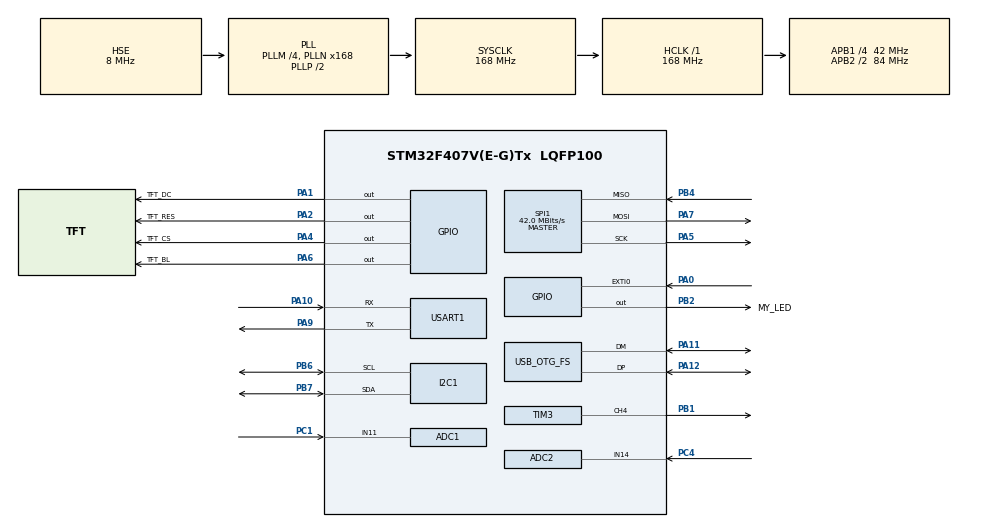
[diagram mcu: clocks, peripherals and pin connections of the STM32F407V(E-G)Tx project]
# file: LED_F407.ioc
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ADC1.Channel-3\#ChannelRegularConversion=ADC_CHANNEL_11
ADC1.ClockPrescaler=ADC_CLOCK_SYNC_PCLK_DIV4
ADC1.ContinuousConvMode=ENABLE
ADC1.DMAContinuousRequests=ENABLE
ADC1.NbrOfConversion=1
ADC1.NbrOfConversionFlag=1
ADC1.Rank-3\#ChannelRegularConversion=1
ADC1.SamplingTime-3\#ChannelRegularConversion=ADC_SAMPLETIME_480CYCLES
ADC1.ScanConvMode=DISABLE
ADC1.master=1
ADC2.Channel-1\#ChannelRegularConversion=ADC_CHANNEL_14
ADC2.ContinuousConvMode=ENABLE
ADC2.DMAContinuousRequests=ENABLE
ADC2.NbrOfConversion=1
ADC2.NbrOfConversionFlag=1
ADC2.Rank-1\#ChannelRegularConversion=1
ADC2.SamplingTime-1\#ChannelRegularConversion=ADC_SAMPLETIME_144CYCLES
Dma.ADC1.0.Direction=DMA_PERIPH_TO_MEMORY
Dma.ADC1.0.FIFOMode=DMA_FIFOMODE_DISABLE
Dma.ADC1.0.Instance=DMA2_Stream0
Dma.ADC1.0.MemDataAlignment=DMA_MDATAALIGN_HALFWORD
Dma.ADC1.0.MemInc=DMA_MINC_ENABLE
Dma.ADC1.0.Mode=DMA_CIRCULAR
Dma.ADC1.0.PeriphDataAlignment=DMA_PDATAALIGN_HALFWORD
Dma.ADC1.0.PeriphInc=DMA_PINC_DISABLE
Dma.ADC1.0.Priority=DMA_PRIORITY_VERY_HIGH
Dma.ADC2.4.Direction=DMA_PERIPH_TO_MEMORY
Dma.ADC2.4.FIFOMode=DMA_FIFOMODE_DISABLE
Dma.ADC2.4.Instance=DMA2_Stream2
Dma.ADC2.4.MemDataAlignment=DMA_MDATAALIGN_HALFWORD
Dma.ADC2.4.MemInc=DMA_MINC_ENABLE
Dma.ADC2.4.Mode=DMA_CIRCULAR
Dma.ADC2.4.PeriphDataAlignment=DMA_PDATAALIGN_HALFWORD
Dma.ADC2.4.PeriphInc=DMA_PINC_DISABLE
Dma.ADC2.4.Priority=DMA_PRIORITY_VERY_HIGH
Dma.Request0=ADC1
Dma.Request1=USART1_RX
Dma.Request2=USART1_TX
Dma.Request3=SPI1_TX
Dma.Request4=ADC2
Dma.SPI1_TX.3.Direction=DMA_MEMORY_TO_PERIPH
Dma.SPI1_TX.3.FIFOMode=DMA_FIFOMODE_DISABLE
Dma.SPI1_TX.3.Instance=DMA2_Stream3
Dma.SPI1_TX.3.MemDataAlignment=DMA_MDATAALIGN_BYTE
Dma.SPI1_TX.3.MemInc=DMA_MINC_ENABLE
Dma.SPI1_TX.3.Mode=DMA_NORMAL
Dma.SPI1_TX.3.PeriphDataAlignment=DMA_PDATAALIGN_BYTE
Dma.SPI1_TX.3.PeriphInc=DMA_PINC_DISABLE
Dma.SPI1_TX.3.Priority=DMA_PRIORITY_HIGH
Dma.USART1_RX.1.Direction=DMA_PERIPH_TO_MEMORY
Dma.USART1_RX.1.FIFOMode=DMA_FIFOMODE_DISABLE
Dma.USART1_RX.1.Instance=DMA2_Stream5
Dma.USART1_RX.1.MemDataAlignment=DMA_MDATAALIGN_BYTE
Dma.USART1_RX.1.MemInc=DMA_MINC_ENABLE
Dma.USART1_RX.1.Mode=DMA_NORMAL
Dma.USART1_RX.1.PeriphDataAlignment=DMA_PDATAALIGN_BYTE
Dma.USART1_RX.1.PeriphInc=DMA_PINC_DISABLE
Dma.USART1_RX.1.Priority=DMA_PRIORITY_HIGH
Dma.USART1_TX.2.Direction=DMA_MEMORY_TO_PERIPH
Dma.USART1_TX.2.FIFOMode=DMA_FIFOMODE_DISABLE
Dma.USART1_TX.2.Instance=DMA2_Stream7
Dma.USART1_TX.2.MemDataAlignment=DMA_MDATAALIGN_BYTE
Dma.USART1_TX.2.MemInc=DMA_MINC_ENABLE
Dma.USART1_TX.2.Mode=DMA_NORMAL
Dma.USART1_TX.2.PeriphDataAlignment=DMA_PDATAALIGN_BYTE
Dma.USART1_TX.2.PeriphInc=DMA_PINC_DISABLE
Dma.USART1_TX.2.Priority=DMA_PRIORITY_HIGH
FREERTOS.Tasks01=defaultTask,24,128,StartDefaultTask,Default,NULL,Dynamic,NULL,NULL
I2C1.OwnAddress=0x40
I2C1.Timing=0x10907DBA
Mcu.Family=STM32F4
Mcu.Name=STM32F407V(E-G)Tx
Mcu.Package=LQFP100
NVIC.ADC_IRQn=true\:5\:0\:false\:false\:true\:true\:true\:true\:true
NVIC.DMA2_Stream0_IRQn=true\:5\:0\:false\:false\:true\:true\:false\:true\:true
NVIC.DMA2_Stream2_IRQn=true\:5\:0\:false\:false\:true\:true\:false\:true\:true
NVIC.DMA2_Stream3_IRQn=true\:5\:0\:false\:false\:true\:true\:false\:true\:true
NVIC.DMA2_Stream5_IRQn=true\:5\:0\:false\:false\:true\:true\:false\:true\:true
NVIC.DMA2_Stream7_IRQn=true\:5\:0\:false\:false\:true\:true\:false\:true\:true
NVIC.EXTI0_IRQn=true\:5\:0\:false\:false\:true\:true\:true\:true\:true
NVIC.I2C1_ER_IRQn=true\:5\:0\:false\:false\:true\:true\:true\:true\:true
NVIC.I2C1_EV_IRQn=true\:5\:0\:false\:false\:true\:true\:true\:true\:true
NVIC.OTG_FS_IRQn=true\:5\:0\:false\:false\:true\:true\:false\:true\:true
NVIC.PriorityGroup=NVIC_PRIORITYGROUP_4
NVIC.SPI1_IRQn=true\:5\:0\:false\:false\:true\:true\:true\:true\:true
NVIC.TIM4_IRQn=true\:5\:0\:false\:false\:true\:true\:true\:true\:true
NVIC.TIM5_IRQn=true\:5\:0\:false\:false\:true\:true\:true\:true\:true
NVIC.TIM6_DAC_IRQn=true\:15\:0\:false\:false\:true\:false\:true\:true\:true
NVIC.TIM8_UP_TIM13_IRQn=true\:5\:0\:false\:false\:true\:true\:true\:true\:true
NVIC.TimeBase=TIM6_DAC_IRQn
NVIC.TimeBaseIP=TIM6
NVIC.USART1_IRQn=true\:5\:0\:false\:false\:true\:true\:true\:true\:true
PA0-WKUP.GPIO_ModeDefaultEXTI=GPIO_MODE_IT_RISING
PA0-WKUP.Signal=GPXTI0
PA1.GPIO_Label=TFT_DC
PA1.Signal=GPIO_Output
PA10.GPIO_Speed=GPIO_SPEED_FREQ_VERY_HIGH
PA10.Mode=Asynchronous
PA10.Signal=USART1_RX
PA11.Mode=Device_Only
PA11.Signal=USB_OTG_FS_DM
PA12.Mode=Device_Only
PA12.Signal=USB_OTG_FS_DP
PA13.Mode=Serial_Wire
PA13.Signal=SYS_JTMS-SWDIO
PA14.Mode=Serial_Wire
PA14.Signal=SYS_JTCK-SWCLK
PA2.GPIO_Label=TFT_RES
PA2.Signal=GPIO_Output
PA4.GPIO_Label=TFT_CS
PA4.Signal=GPIO_Output
PA5.Mode=Full_Duplex_Master
PA5.Signal=SPI1_SCK
PA6.GPIO_Label=TFT_BL
PA6.Signal=GPIO_Output
PA7.Mode=Full_Duplex_Master
PA7.Signal=SPI1_MOSI
PA9.Mode=Asynchronous
PA9.Signal=USART1_TX
PB1.GPIO_Speed=GPIO_SPEED_FREQ_VERY_HIGH
PB1.Signal=S_TIM3_CH4
PB2.GPIO_Label=MY_LED
PB2.GPIO_Speed=GPIO_SPEED_FREQ_HIGH
PB2.PinState=GPIO_PIN_SET
PB2.Signal=GPIO_Output
PB4.Mode=Full_Duplex_Master
PB4.Signal=SPI1_MISO
PB6.Mode=I2C
PB6.Signal=I2C1_SCL
PB7.Mode=I2C
PB7.Signal=I2C1_SDA
PC1.Signal=ADCx_IN11
PC4.Signal=ADCx_IN14
PH0-OSC_IN.Mode=HSE-External-Oscillator
PH0-OSC_IN.Signal=RCC_OSC_IN
PH1-OSC_OUT.Mode=HSE-External-Oscillator
PH1-OSC_OUT.Signal=RCC_OSC_OUT
ProjectManager.HeapSize=0x200
ProjectManager.StackSize=0x400
ProjectManager.TargetToolchain=CMake
RCC.48MHZClocksFreq_Value=48000000
RCC.AHBFreq_Value=168000000
RCC.APB1CLKDivider=RCC_HCLK_DIV4
RCC.APB1Freq_Value=42000000
RCC.APB1TimFreq_Value=84000000
RCC.APB2CLKDivider=RCC_HCLK_DIV2
RCC.APB2Freq_Value=84000000
RCC.APB2TimFreq_Value=168000000
RCC.CortexFreq_Value=168000000
RCC.HCLKFreq_Value=168000000
RCC.HSE_VALUE=8000000
RCC.HSI_VALUE=16000000
RCC.LSE_VALUE=32768
RCC.PLLM=4
RCC.PLLN=168
RCC.PLLQ=7
RCC.SYSCLKFreq_VALUE=168000000
RCC.SYSCLKSource=RCC_SYSCLKSOURCE_PLLCLK
RCC.VCOOutputFreq_Value=336000000
SH.ADCx_IN11.0=ADC1_IN11,IN11
SH.ADCx_IN14.0=ADC2_IN14,IN14
SH.S_TIM3_CH4.0=TIM3_CH4,PWM Generation4 CH4
SPI1.BaudRatePrescaler=SPI_BAUDRATEPRESCALER_2
SPI1.CLKPolarity=SPI_POLARITY_HIGH
SPI1.CalculateBaudRate=42.0 MBits/s
SPI1.Direction=SPI_DIRECTION_2LINES
SPI1.Mode=SPI_MODE_MASTER
SPI1.VirtualType=VM_MASTER
TIM3.Channel-PWM\ Generation4\ CH4=TIM_CHANNEL_4
TIM3.Period=1000-1
TIM3.Prescaler=84-1
TIM3.Pulse-PWM\ Generation4\ CH4=0
TIM4.Period=25000-1
TIM4.Prescaler=84-1
TIM5.Period=500-1
TIM5.Prescaler=84-1
TIM8.Period=10000-1
TIM8.Prescaler=84-1
USART1.VirtualMode=VM_ASYNC
USB_DEVICE.CLASS_NAME_FS=CDC
USB_DEVICE.VirtualMode-CDC_FS=Cdc
USB_DEVICE.VirtualModeFS=Cdc_FS
USB_OTG_FS.VirtualMode=Device_Only
VP_FREERTOS_VS_CMSIS_V2.Mode=CMSIS_V2
VP_SYS_VS_tim6.Mode=TIM6
VP_TIM4_VS_ClockSourceINT.Mode=Internal
VP_TIM5_VS_ClockSourceINT.Mode=Internal
VP_TIM5_VS_OPM.Mode=OPM_bit
VP_TIM8_VS_ClockSourceINT.Mode=Internal
VP_USB_DEVICE_VS_USB_DEVICE_CDC_FS.Mode=CDC_FS
board=custom

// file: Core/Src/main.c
/* USER CODE BEGIN Header */
/**
  ******************************************************************************
  * @file           : main.c
  * @brief          : Main program body
  ******************************************************************************
  * @attention
  *
  * Copyright (c) 2026 STMicroelectronics.
  * All rights reserved.
  *
  * This software is licensed under terms that can be found in the LICENSE file
  * in the root directory of this software component.
  * If no LICENSE file comes with this software, it is provided AS-IS.
  *
  ******************************************************************************
  */
/* USER CODE END Header */
#include "main.h"
#include "cmsis_os.h"
#include "adc.h"
#include "dma.h"
#include "i2c.h"
#include "spi.h"
#include "tim.h"
#include "usart.h"
#include "usb_device.h"
#include "gpio.h"

/* USER CODE BEGIN Includes */
#include "lvgl.h"
#include "app_tasks/app_init.h"
#include "app_tasks/app_echo_task.h"
#include "control/pwm_control.h"
#include "sensor/thermocouple_sampler.h"
#include "control/uart_cmd.h"

/* USER CODE END Includes */

void SystemClock_Config(void);
void MX_FREERTOS_Init(void);

int main(void)
{

  /* MCU Configuration--------------------------------------------------------*/

  /* Reset of all peripherals, Initializes the Flash interface and the Systick. */
  HAL_Init();

  /* Configure the system clock */
  SystemClock_Config();

  /* USER CODE BEGIN SysInit */
  CoreDebug->DEMCR |= CoreDebug_DEMCR_TRCENA_Msk;
  DWT->CYCCNT = 0;
  DWT->CTRL |= DWT_CTRL_CYCCNTENA_Msk;
  /* USER CODE END SysInit */

  /* Initialize all configured peripherals */
  MX_GPIO_Init();
  MX_DMA_Init();
  MX_USART1_UART_Init();
  MX_ADC1_Init();
  MX_I2C1_Init();
  MX_SPI1_Init();
  MX_TIM8_Init();
  MX_TIM3_Init();
  MX_TIM4_Init();
  MX_TIM5_Init();
  MX_ADC2_Init();
  /* USER CODE BEGIN 2 */
  App_Init();
  /* USER CODE END 2 */

  /* Init scheduler */
  osKernelInitialize();  /* Call init function for freertos objects (in cmsis_os2.c) */
  MX_FREERTOS_Init();

  /* Start scheduler */
  osKernelStart();

  /* We should never get here as control is now taken by the scheduler */

  /* Infinite loop */
  while (1)
  {

    /* USER CODE BEGIN 3 */
    /* 调度器启动后不会到达这里，应用逻辑在 App_MainLoop() 中 */
  }
  /* USER CODE END 3 */
}

void SystemClock_Config(void)
{
  RCC_OscInitTypeDef RCC_OscInitStruct = {0};
  RCC_ClkInitTypeDef RCC_ClkInitStruct = {0};

  /** Configure the main internal regulator output voltage
  */
  __HAL_RCC_PWR_CLK_ENABLE();
  __HAL_PWR_VOLTAGESCALING_CONFIG(PWR_REGULATOR_VOLTAGE_SCALE1);

  /** Initializes the RCC Oscillators according to the specified parameters
  * in the RCC_OscInitTypeDef structure.
  */
  RCC_OscInitStruct.OscillatorType = RCC_OSCILLATORTYPE_HSE;
  RCC_OscInitStruct.HSEState = RCC_HSE_ON;
  RCC_OscInitStruct.PLL.PLLState = RCC_PLL_ON;
  RCC_OscInitStruct.PLL.PLLSource = RCC_PLLSOURCE_HSE;
  RCC_OscInitStruct.PLL.PLLM = 4;
  RCC_OscInitStruct.PLL.PLLN = 168;
  RCC_OscInitStruct.PLL.PLLP = RCC_PLLP_DIV2;
  RCC_OscInitStruct.PLL.PLLQ = 7;
  if (HAL_RCC_OscConfig(&RCC_OscInitStruct) != HAL_OK)
  {
    Error_Handler();
  }

  /** Initializes the CPU, AHB and APB buses clocks
  */
  RCC_ClkInitStruct.ClockType = RCC_CLOCKTYPE_HCLK|RCC_CLOCKTYPE_SYSCLK
                              |RCC_CLOCKTYPE_PCLK1|RCC_CLOCKTYPE_PCLK2;
  RCC_ClkInitStruct.SYSCLKSource = RCC_SYSCLKSOURCE_PLLCLK;
  RCC_ClkInitStruct.AHBCLKDivider = RCC_SYSCLK_DIV1;
  RCC_ClkInitStruct.APB1CLKDivider = RCC_HCLK_DIV4;
  RCC_ClkInitStruct.APB2CLKDivider = RCC_HCLK_DIV2;

  if (HAL_RCC_ClockConfig(&RCC_ClkInitStruct, FLASH_LATENCY_5) != HAL_OK)
  {
    Error_Handler();
  }
}

/* USER CODE BEGIN 4 */

void HAL_UART_TxCpltCallback(UART_HandleTypeDef *huart)
{
  UartCmd_OnTxComplete(huart);
}

void HAL_GPIO_EXTI_Callback(uint16_t GPIO_Pin)
{
  if (GPIO_Pin == GPIO_PIN_0) {
    App_EchoTask_OnButtonPressed();
  }
}

void HAL_ADC_ConvCpltCallback(ADC_HandleTypeDef *hadc)
{
  if (hadc->Instance == ADC2) {
    ThermocoupleSampler_OnAdcDmaComplete();
  }
}

/* USER CODE END 4 */

void HAL_TIM_PeriodElapsedCallback(TIM_HandleTypeDef *htim)
{
  /* USER CODE BEGIN Callback 0 */
  if (htim->Instance == TIM6) {
    lv_tick_inc(1);   /* LVGL 时基：1ms 步进，放 USER CODE 区防止 CubeMX 覆盖 */
  }
  /* USER CODE END Callback 0 */
  if (htim->Instance == TIM6)
  {
    HAL_IncTick();
  }
  /* USER CODE BEGIN Callback 1 */

  if (htim->Instance == TIM8)
  {
    PwmControl_OnTim8Elapsed();
  }
  else if (htim->Instance == TIM4)
  {
    ThermocoupleSampler_OnSamplingTimerElapsed();
  }
  else if (htim->Instance == TIM5)
  {
    ThermocoupleSampler_OnSettleTimerElapsed();
  }
  /* USER CODE END Callback 1 */
}

void Error_Handler(void)
{
  __disable_irq();
  while (1)
  {
  }
}

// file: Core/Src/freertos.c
/* USER CODE BEGIN Header */
/**
  ******************************************************************************
  * File Name          : freertos.c
  * Description        : Code for freertos applications
  ******************************************************************************
  * @attention
  *
  * Copyright (c) 2026 STMicroelectronics.
  * All rights reserved.
  *
  * This software is licensed under terms that can be found in the LICENSE file
  * in the root directory of this software component.
  * If no LICENSE file comes with this software, it is provided AS-IS.
  *
  ******************************************************************************
  */
/* USER CODE END Header */

#include "FreeRTOS.h"
#include "task.h"
#include "main.h"
#include "cmsis_os.h"

/* USER CODE BEGIN Includes */
#include "app_tasks/app_echo_task.h"
#include "app_tasks/app_sensor_task.h"
#include "app_tasks/app_lvgl_task.h"

/* USER CODE END Includes */

/* USER CODE BEGIN Variables */
/* Definitions for EchoTask */
osThreadId_t echoTaskHandle;
const osThreadAttr_t echoTask_attributes = {
  .name = "Echo",
  .stack_size = 256 * 4,
  .priority = (osPriority_t) osPriorityNormal,
};

/* Definitions for SensorTask */
osThreadId_t sensorTaskHandle;
const osThreadAttr_t sensorTask_attributes = {
  .name = "Sensor",
  .stack_size = 256 * 4,
  .priority = (osPriority_t)osPriorityBelowNormal,
};

/* USER CODE END Variables */
/* Definitions for defaultTask */
osThreadId_t defaultTaskHandle;
const osThreadAttr_t defaultTask_attributes = {
  .name = "defaultTask",
  .stack_size = 128 * 4,
  .priority = (osPriority_t) osPriorityNormal,
};

/* USER CODE BEGIN FunctionPrototypes */
void StartEchoTask(void *argument);
void StartSensorTask(void *argument);
/* USER CODE END FunctionPrototypes */

void StartDefaultTask(void *argument);

extern void MX_USB_DEVICE_Init(void);
void MX_FREERTOS_Init(void); /* (MISRA C 2004 rule 8.1) */

void MX_FREERTOS_Init(void) {

  /* Create the thread(s) */
  /* creation of defaultTask */
  defaultTaskHandle = osThreadNew(StartDefaultTask, NULL, &defaultTask_attributes);

  /* USER CODE BEGIN RTOS_THREADS */
  echoTaskHandle = osThreadNew(StartEchoTask, NULL, &echoTask_attributes);
  sensorTaskHandle = osThreadNew(StartSensorTask, NULL, &sensorTask_attributes);

  /* LVGL 任务 — 放在 RTOS_THREADS 区防止 CubeMX 覆盖 */
  {
    const osThreadAttr_t lvglTask_attributes = {
      .name = "LVGL",
      .stack_size = 1024 * 4,
      .priority = (osPriority_t) osPriorityNormal,
    };
    osThreadNew(App_LVGLTask, NULL, &lvglTask_attributes);
  }
  /* USER CODE END RTOS_THREADS */

}

void StartDefaultTask(void *argument)
{
  /* init code for USB_DEVICE */
  MX_USB_DEVICE_Init();
  /* USER CODE BEGIN StartDefaultTask */
  /* Infinite loop */
  for(;;)
  {
    osDelay(1000);
  }
  /* USER CODE END StartDefaultTask */
}

/* USER CODE BEGIN Application */
void StartEchoTask(void *argument)
{
  App_EchoTask(argument);
}

void StartSensorTask(void *argument)
{
  App_SensorTask(argument);
}
/* USER CODE END Application */
